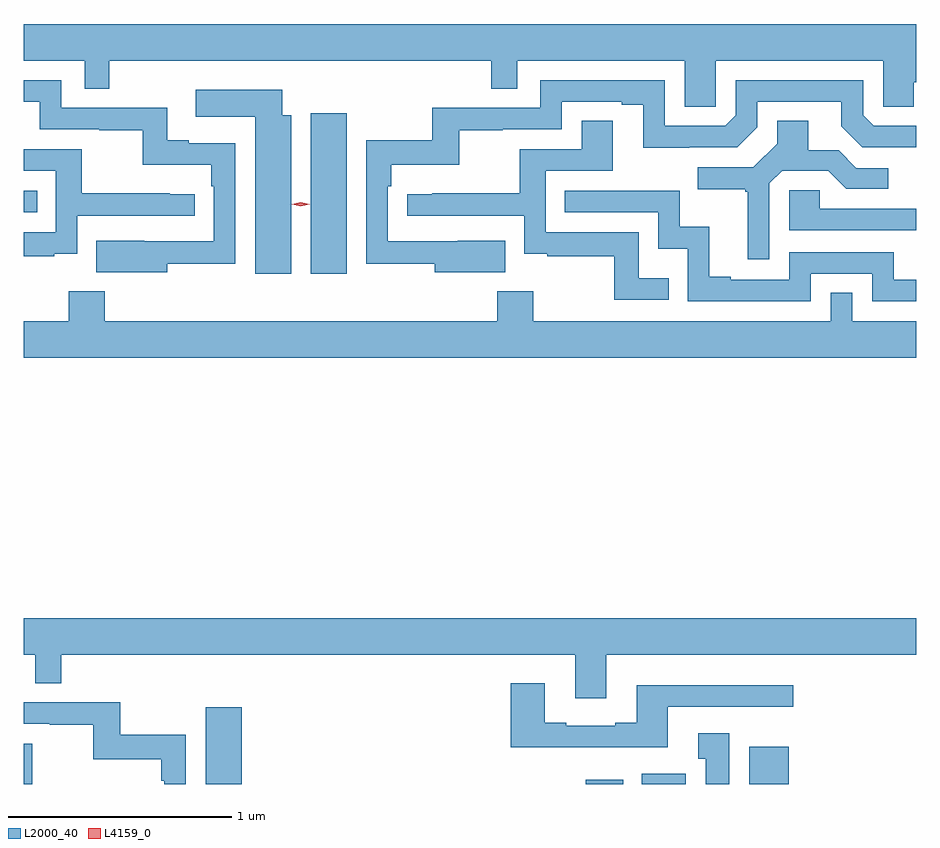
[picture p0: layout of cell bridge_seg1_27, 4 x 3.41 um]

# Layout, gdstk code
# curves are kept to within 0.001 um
import gdstk
lib = gdstk.Library(unit=1e-6, precision=1e-09)
def R(c, l, rs):  # rectangles x0, y0, x1, y1
    for r in rs: c.add(gdstk.rectangle(r[:2], r[2:], *l))
def P(c, l, *ps):  # polygons
    for p in ps: c.add(gdstk.Polygon(p, *l))
L2000_40 = (2000, 40)
L4159_0 = (4159, 0)

bridge_seg1_27 = lib.new_cell('bridge_seg1_27')
R(bridge_seg1_27, L2000_40, [(1102.242,540.497,1102.28,540.678), (1103.057,540.497,1103.218,540.841), (1104.761,540.497,1104.928,540.517), (1105.013,540.497,1105.21,540.544), (1105.493,540.497,1105.672,540.664), (1103.528,542.784,1103.689,543.505), (1102.242,543.06,1102.301,543.156)])
P(bridge_seg1_27, L2000_40, [(1105.344,543.74),(1106.094,543.74),(1106.094,543.532),(1106.231,543.532),(1106.231,543.642),(1106.242,543.642),(1106.242,543.904),(1102.242,543.904),(1102.242,543.74),(1102.515,543.74),(1102.515,543.613),(1102.624,543.613),(1102.624,543.74),(1104.337,543.74),(1104.337,543.613),(1104.453,543.613),(1104.453,543.74),(1105.205,543.74),(1105.205,543.532),(1105.344,543.532)],
  [(1102.885,542.83),(1103.19,542.83),(1103.19,543.369),(1102.981,543.369),(1102.981,543.382),(1102.884,543.382),(1102.884,543.528),(1102.41,543.528),(1102.41,543.651),(1102.242,543.651),(1102.242,543.555),(1102.314,543.555),(1102.314,543.432),(1102.579,543.432),(1102.579,543.427),(1102.776,543.427),(1102.776,543.272),(1103.081,543.272),(1103.081,543.176),(1103.094,543.176),(1103.094,542.931),(1102.781,542.931),(1102.781,542.932),(1102.567,542.932),(1102.567,542.792),(1102.885,542.792)],
  [(1104.401,542.932),(1103.874,542.931),(1103.874,543.176),(1103.888,543.176),(1103.888,543.272),(1104.193,543.272),(1104.193,543.427),(1104.389,543.427),(1104.389,543.432),(1104.654,543.432),(1104.654,543.555),(1104.923,543.555),(1104.923,543.543),(1105.019,543.543),(1105.019,543.35),(1105.44,543.351),(1105.53,543.441),(1105.53,543.555),(1105.907,543.555),(1105.907,543.445),(1106.001,543.351),(1106.242,543.351),(1106.242,543.447),(1106.052,543.447),(1106.004,543.495),(1106.004,543.651),(1105.434,543.651),(1105.434,543.495),(1105.386,543.447),(1105.116,543.447),(1105.116,543.651),(1104.558,543.651),(1104.558,543.528),(1104.072,543.528),(1104.072,543.382),(1103.778,543.382),(1103.778,542.83),(1104.083,542.83),(1104.083,542.792),(1104.401,542.792)],
  [(1103.44,543.496),(1103.401,543.496),(1103.401,543.61),(1103.013,543.61),(1103.013,543.488),(1103.279,543.488),(1103.279,542.784),(1103.44,542.784)],
  [(1105.133,542.764),(1104.999,542.764),(1104.999,542.97),(1104.582,542.97),(1104.582,543.246),(1104.883,543.246),(1104.883,543.47),(1104.743,543.47),(1104.743,543.342),(1104.466,543.342),(1104.466,543.146),(1104.073,543.146),(1104.073,543.141),(1103.961,543.141),(1103.961,543.045),(1104.486,543.045),(1104.486,542.873),(1104.589,542.873),(1104.589,542.862),(1104.888,542.862),(1104.888,542.667),(1105.133,542.667)],
  [(1105.584,543.189),(1105.641,543.246),(1105.847,543.246),(1105.928,543.165),(1106.116,543.165),(1106.116,543.258),(1105.974,543.258),(1105.894,543.338),(1105.759,543.338),(1105.759,543.47),(1105.619,543.47),(1105.619,543.368),(1105.512,543.261),(1105.263,543.261),(1105.263,543.164),(1105.476,543.164),(1105.476,543.153),(1105.487,543.153),(1105.487,542.85),(1105.584,542.85)],
  [(1102.379,542.873),(1102.482,542.873),(1102.482,543.045),(1103.008,543.045),(1103.008,543.141),(1102.895,543.141),(1102.895,543.146),(1102.502,543.146),(1102.502,543.342),(1102.242,543.342),(1102.242,543.246),(1102.386,543.246),(1102.386,542.97),(1102.242,542.97),(1102.242,542.862),(1102.379,542.862)],
  [(1106.242,543.075),(1105.811,543.075),(1105.811,543.159),(1105.674,543.159),(1105.674,542.979),(1106.242,542.979)],
  [(1105.77,542.784),(1106.046,542.784),(1106.046,542.661),(1106.242,542.661),(1106.242,542.757),(1106.142,542.757),(1106.142,542.88),(1105.674,542.88),(1105.674,542.757),(1105.411,542.757),(1105.411,542.77),(1105.315,542.77),(1105.315,542.995),(1105.182,542.995),(1105.182,543.156),(1104.667,543.156),(1104.667,543.06),(1105.086,543.06),(1105.086,542.897),(1105.218,542.897),(1105.218,542.661),(1105.77,542.661)],
  [(1106.242,542.572),(1105.956,542.572),(1105.956,542.699),(1105.86,542.699),(1105.86,542.572),(1104.525,542.572),(1104.525,542.707),(1104.365,542.707),(1104.365,542.572),(1102.604,542.572),(1102.604,542.707),(1102.444,542.707),(1102.444,542.572),(1102.242,542.572),(1102.242,542.408),(1106.242,542.408)],
  [(1104.853,541.076),(1106.242,541.076),(1106.242,541.24),(1102.242,541.24),(1102.242,541.076),(1102.293,541.076),(1102.293,540.949),(1102.409,540.949),(1102.409,541.076),(1104.713,541.076),(1104.713,540.882),(1104.853,540.882)],
  [(1105.129,540.843),(1105.69,540.843),(1105.69,540.94),(1104.989,540.94),(1104.989,540.772),(1104.893,540.772),(1104.893,540.759),(1104.673,540.759),(1104.673,540.772),(1104.577,540.772),(1104.577,540.949),(1104.425,540.949),(1104.425,540.662),(1105.129,540.662)],
  [(1102.968,540.718),(1102.675,540.718),(1102.675,540.864),(1102.242,540.864),(1102.242,540.768),(1102.357,540.768),(1102.357,540.763),(1102.554,540.763),(1102.554,540.608),(1102.859,540.608),(1102.859,540.512),(1102.872,540.512),(1102.872,540.497),(1102.968,540.497)],
  [(1105.405,540.724),(1105.265,540.724),(1105.265,540.611),(1105.298,540.611),(1105.298,540.497),(1105.405,540.497)])
P(bridge_seg1_27, L4159_0, [(1103.484,543.086),(1103.444,543.096),(1103.444,543.096),(1103.444,543.097),(1103.484,543.106),(1103.524,543.097),(1103.524,543.096),(1103.524,543.096)])

lib.write_gds('bridge_seg1_27.gds')
